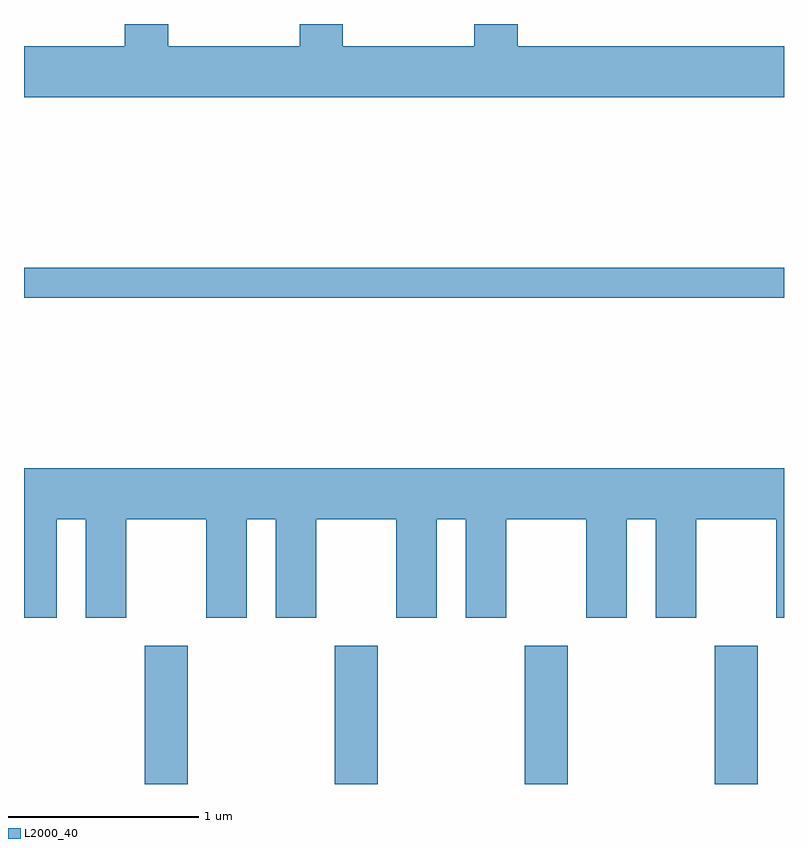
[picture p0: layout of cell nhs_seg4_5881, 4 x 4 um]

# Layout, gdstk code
import gdstk
lib = gdstk.Library(unit=1e-6, precision=1e-09)
def R(c, l, rs):  # rectangles x0, y0, x1, y1
    for r in rs: c.add(gdstk.rectangle(r[:2], r[2:], *l))
def A(c, l, x, y, w, h, nx, ny, dx, dy):  # array of equal rectangles
    R(c, l, [(x+i*dx, y+j*dy, x+i*dx+w, y+j*dy+h) for i in range(nx) for j in range(ny)])
def P(c, l, *ps):  # polygons
    for p in ps: c.add(gdstk.Polygon(p, *l))
L2000_40 = (2000, 40)

nhs_seg4_5881 = lib.new_cell('nhs_seg4_5881')
A(nhs_seg4_5881, L2000_40, 358.246, 1319.982, 0.228, 0.727, 4, 1, 1, 0)
R(nhs_seg4_5881, L2000_40, [(357.611,1322.541,361.611,1322.699)])
P(nhs_seg4_5881, L2000_40, [(361.611,1323.864),(360.209,1323.864),(360.209,1323.982),(359.981,1323.982),(359.981,1323.864),(359.289,1323.864),(359.289,1323.982),(359.061,1323.982),(359.061,1323.864),(358.369,1323.864),(358.369,1323.982),(358.141,1323.982),(358.141,1323.864),(357.611,1323.864),(357.611,1323.596),(361.611,1323.596)],
  [(357.784,1321.376),(357.936,1321.376),(357.936,1320.856),(358.149,1320.856),(358.149,1321.376),(358.571,1321.376),(358.571,1320.856),(358.784,1320.856),(358.784,1321.376),(358.936,1321.376),(358.936,1320.856),(359.149,1320.856),(359.149,1321.376),(359.571,1321.376),(359.571,1320.856),(359.784,1320.856),(359.784,1321.376),(359.936,1321.376),(359.936,1320.856),(360.149,1320.856),(360.149,1321.376),(360.571,1321.376),(360.571,1320.856),(360.784,1320.856),(360.784,1321.376),(360.936,1321.376),(360.936,1320.856),(361.149,1320.856),(361.149,1321.376),(361.571,1321.376),(361.571,1320.856),(361.611,1320.856),(361.611,1321.644),(357.611,1321.644),(357.611,1320.856),(357.784,1320.856)])

lib.write_gds('nhs_seg4_5881.gds')
